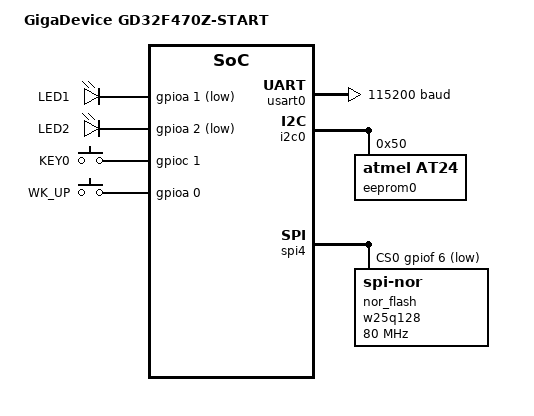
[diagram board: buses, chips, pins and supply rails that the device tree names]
/*
 * Copyright (c) 2026 Zhijian Han
 * SPDX-License-Identifier: Apache-2.0
 */

/dts-v1/;

#include <gd/gd32f4xx/gd32f470xi.dtsi>
#include "gd32f470z_start-pinctrl.dtsi"
#include <zephyr/dt-bindings/input/input-event-codes.h>

/ {
	model = "GigaDevice GD32F470Z-START";
	compatible = "gd,gd32f470z-start";

	chosen {
		zephyr,sram = &sram0;
		zephyr,flash = &flash0;
		zephyr,dtcm = &tcmsram0;
		zephyr,console = &usart0;
		zephyr,shell-uart = &usart0;
	};

	leds {
		compatible = "gpio-leds";

		led1: led1 {
			gpios = <&gpioa 1 GPIO_ACTIVE_LOW>;
			label = "LED1";
		};

		led2: led2 {
			gpios = <&gpioa 2 GPIO_ACTIVE_LOW>;
			label = "LED2";
		};
	};

	gpio_keys {
		compatible = "gpio-keys";

		key0: key0 {
			label = "KEY0";
			gpios = <&gpioc 1 GPIO_ACTIVE_HIGH>;
			zephyr,code = <INPUT_KEY_0>;
		};

		wk_up: wk_up {
			label = "WK_UP";
			gpios = <&gpioa 0 GPIO_ACTIVE_HIGH>;
			zephyr,code = <INPUT_KEY_1>;
		};
	};

	aliases {
		led0 = &led1;
		led1 = &led2;
		sw0 = &key0;
		sw1 = &wk_up;
		eeprom-0 = &eeprom0;
	};
};

&gpioa {
	status = "okay";
};

&gpiob {
	status = "okay";
};

&gpioc {
	status = "okay";
};

&gpiof {
	status = "okay";
};

&usart0 {
	status = "okay";
	current-speed = <115200>;
	pinctrl-0 = <&usart0_default>;
	pinctrl-names = "default";
};

&i2c0 {
	status = "okay";
	pinctrl-0 = <&i2c0_default>;
	pinctrl-names = "default";

	eeprom0: eeprom@50 {
		compatible = "atmel,at24";
		reg = <0x50>;
		status = "okay";
		size = <256>;
		pagesize = <8>;
		address-width = <8>;
		timeout = <5>;
	};
};

&spi4 {
	status = "okay";
	pinctrl-0 = <&spi4_default>;
	pinctrl-names = "default";
	cs-gpios = <&gpiof 6 GPIO_ACTIVE_LOW>;

	nor_flash: w25q128@0 {
		compatible = "jedec,spi-nor";
		reg = <0>;
		spi-max-frequency = <80000000>;
		size = <DT_SIZE_M(128)>; /* 128 Mbit */
		jedec-id = [ef 40 18];
		status = "okay";
	};
};
